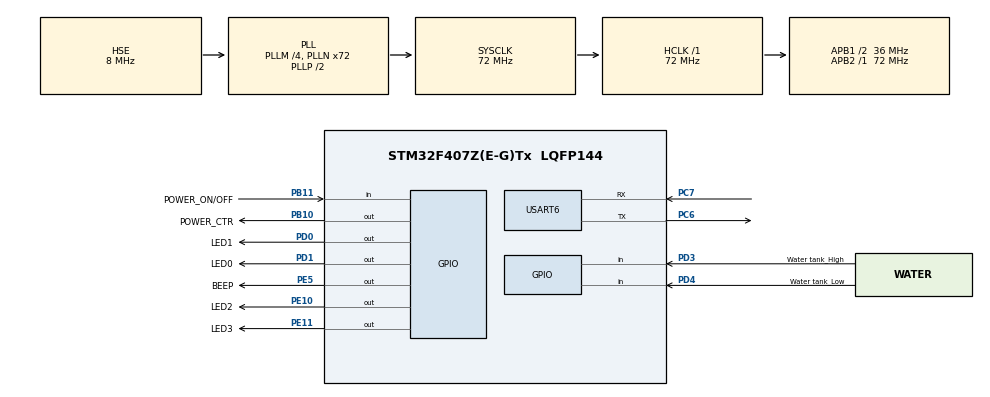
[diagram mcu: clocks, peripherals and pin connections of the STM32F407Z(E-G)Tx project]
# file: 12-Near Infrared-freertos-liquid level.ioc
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FREERTOS.Tasks01=LED_Task,-3,128,Start_LED_Task,Default,NULL,Dynamic,NULL,NULL;PWR_Task,0,128,Start_PWR_Task,Default,NULL,Dynamic,NULL,NULL;BOOT_Task,-1,128,Start_BOOT_Task,Default,NULL,Dynamic,NULL,NULL
Mcu.Family=STM32F4
Mcu.Name=STM32F407Z(E-G)Tx
Mcu.Package=LQFP144
NVIC.PriorityGroup=NVIC_PRIORITYGROUP_4
NVIC.TIM2_IRQn=true\:5\:0\:false\:false\:true\:true\:true\:true\:true
NVIC.TIM7_IRQn=true\:15\:0\:false\:false\:true\:false\:false\:true\:true
NVIC.TimeBase=TIM7_IRQn
NVIC.TimeBaseIP=TIM7
NVIC.USART6_IRQn=true\:6\:0\:true\:false\:true\:true\:true\:true\:true
PA13.Mode=Serial_Wire
PA13.Signal=SYS_JTMS-SWDIO
PA14.Mode=Serial_Wire
PA14.Signal=SYS_JTCK-SWCLK
PB10.GPIO_Label=POWER_CTR
PB10.GPIO_PuPd=GPIO_PULLDOWN
PB10.GPIO_Speed=GPIO_SPEED_FREQ_HIGH
PB10.PinState=GPIO_PIN_RESET
PB10.Signal=GPIO_Output
PB11.GPIO_Label=POWER_ON/OFF
PB11.GPIO_PuPd=GPIO_PULLUP
PB11.Signal=GPIO_Input
PC6.Mode=Asynchronous
PC6.Signal=USART6_TX
PC7.Mode=Asynchronous
PC7.Signal=USART6_RX
PD0.GPIO_Label=LED1
PD0.GPIO_PuPd=GPIO_PULLUP
PD0.GPIO_Speed=GPIO_SPEED_FREQ_HIGH
PD0.PinState=GPIO_PIN_SET
PD0.Signal=GPIO_Output
PD1.GPIO_Label=LED0
PD1.GPIO_PuPd=GPIO_PULLUP
PD1.GPIO_Speed=GPIO_SPEED_FREQ_HIGH
PD1.PinState=GPIO_PIN_SET
PD1.Signal=GPIO_Output
PD3.GPIO_Label=Water tank_High
PD3.GPIO_PuPd=GPIO_PULLUP
PD3.Signal=GPIO_Input
PD4.GPIO_Label=Water tank_Low
PD4.GPIO_PuPd=GPIO_PULLUP
PD4.Signal=GPIO_Input
PE10.GPIO_Label=LED2
PE10.GPIO_PuPd=GPIO_PULLUP
PE10.GPIO_Speed=GPIO_SPEED_FREQ_HIGH
PE10.PinState=GPIO_PIN_SET
PE10.Signal=GPIO_Output
PE11.GPIO_Label=LED3
PE11.GPIO_PuPd=GPIO_PULLUP
PE11.GPIO_Speed=GPIO_SPEED_FREQ_HIGH
PE11.PinState=GPIO_PIN_SET
PE11.Signal=GPIO_Output
PE5.GPIO_Label=BEEP
PE5.GPIO_PuPd=GPIO_PULLDOWN
PE5.GPIO_Speed=GPIO_SPEED_FREQ_HIGH
PE5.PinState=GPIO_PIN_RESET
PE5.Signal=GPIO_Output
PH0-OSC_IN.Mode=HSE-External-Oscillator
PH0-OSC_IN.Signal=RCC_OSC_IN
PH1-OSC_OUT.Mode=HSE-External-Oscillator
PH1-OSC_OUT.Signal=RCC_OSC_OUT
ProjectManager.HeapSize=0x200
ProjectManager.StackSize=0x400
ProjectManager.TargetToolchain=MDK-ARM V5.32
RCC.48MHZClocksFreq_Value=36000000
RCC.AHBFreq_Value=72000000
RCC.APB1CLKDivider=RCC_HCLK_DIV2
RCC.APB1Freq_Value=36000000
RCC.APB1TimFreq_Value=72000000
RCC.APB2Freq_Value=72000000
RCC.APB2TimFreq_Value=72000000
RCC.CortexFreq_Value=72000000
RCC.HCLKFreq_Value=72000000
RCC.HSE_VALUE=8000000
RCC.HSI_VALUE=16000000
RCC.LSE_VALUE=32768
RCC.PLLM=4
RCC.PLLN=72
RCC.PLLSourceVirtual=RCC_PLLSOURCE_HSE
RCC.SYSCLKFreq_VALUE=72000000
RCC.SYSCLKSource=RCC_SYSCLKSOURCE_PLLCLK
RCC.VCOOutputFreq_Value=144000000
TIM2.Period=1750
TIM2.Prescaler=72-1
USART6.VirtualMode=VM_ASYNC
VP_FREERTOS_VS_CMSIS_V1.Mode=CMSIS_V1
VP_SYS_VS_tim7.Mode=TIM7
VP_TIM2_VS_ClockSourceINT.Mode=Internal
board=custom

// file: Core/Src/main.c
/* USER CODE BEGIN Header */
/**
  ******************************************************************************
  * @file           : main.c
  * @brief          : Main program body
  ******************************************************************************
  * @attention
  *
  * Copyright (c) 2024 STMicroelectronics.
  * All rights reserved.
  *
  * This software is licensed under terms that can be found in the LICENSE file
  * in the root directory of this software component.
  * If no LICENSE file comes with this software, it is provided AS-IS.
  *
  ******************************************************************************
  */
/* USER CODE END Header */
#include "main.h"
#include "cmsis_os.h"
#include "tim.h"
#include "usart.h"
#include "gpio.h"

/* USER CODE BEGIN Includes */
#include "flash_write_read.h"
#include "FreeRTOS.h"
#include "flash_write_read.h"
#include <string.h>
#include <stdio.h>

/* USER CODE END Includes */

void SystemClock_Config(void);
void MX_FREERTOS_Init(void);

/* USER CODE BEGIN 0 */
uint32_t flag =1;

/* USER CODE END 0 */

int main(void)
{

  /* MCU Configuration--------------------------------------------------------*/

  /* Reset of all peripherals, Initializes the Flash interface and the Systick. */
  HAL_Init();

  /* Configure the system clock */
  SystemClock_Config();

  /* Initialize all configured peripherals */
  MX_GPIO_Init();
  MX_USART6_UART_Init();
  MX_TIM2_Init();
  /* USER CODE BEGIN 2 */
  HAL_GPIO_WritePin(POWER_CTR_GPIO_Port,POWER_CTR_Pin,GPIO_PIN_SET);
//  STMFLASH_Write(0x08007000,(uint32_t*)flag,1);
//  printf("water_flag_fill_flag存入的值是： %d",flag);
  HAL_Delay(500);
//  #define FLASH_ADDR 0x08005000 	//定义读写地址

//main函数中需要写入就加入写入代码，需要读取就加入读取代码

        //写入数据
//		uint16_t flash_write = 116;
//		uint16_t flash_write[7];
//        flash_write[0] = 1;
//		flash_write[1] = 2;
//		flash_write[2] = 3;
//		flash_write[3] = 4;
//		flash_write[4] = 5;
//		flash_write[5] = 7;
//		flash_write[6] = 10;
//		STMFLASH_Write(FLASH_ADDR,(uint32_t*)&flash_write,1);
//		printf("全部数据存入成功\r\n");

        //读取数据
//		uint16_t flash_read;
//		uint16_t flash_read[1];
//        uint16_t flash_read[7];
//		STMFLASH_Read(FLASH_ADDR,(uint32_t*)&flash_read,1);
		STMFLASH_Read(FLASH_ADDR,(uint32_t *)&water_flag_fill_flag,1);
//	    uint16_t a1= flash_read[0];
//	    uint16_t a2= flash_read[1];
//		uint16_t a3= flash_read[2];
// 		uint16_t a4= flash_read[3];
//		uint16_t a5= flash_read[4];
//		uint16_t a6= flash_read[5];
//		uint16_t a7= flash_read[6];
		printf("读取water_flag_fill_flag 的数据是： %d\r\n",water_flag_fill_flag);
//		printf("uint16_t a7的数据是： %d\r\n",a2);
//		printf("uint16_t a7的数据是： %d\r\n",a3);
//		printf("uint16_t a7的数据是： %d\r\n",a4);
//		printf("uint16_t a7的数据是： %d\r\n",a5);
//		printf("uint16_t a7的数据是： %d\r\n",a6);
//		printf("uint16_t a7的数据是： %d\r\n",a7);

  /* USER CODE END 2 */

  /* Call init function for freertos objects (in freertos.c) */
  MX_FREERTOS_Init();
  /* Start scheduler */
  osKernelStart();

  /* We should never get here as control is now taken by the scheduler */
  /* Infinite loop */
  while (1)
  {

  }
}

void SystemClock_Config(void)
{
  RCC_OscInitTypeDef RCC_OscInitStruct = {0};
  RCC_ClkInitTypeDef RCC_ClkInitStruct = {0};

  /** Configure the main internal regulator output voltage
  */
  __HAL_RCC_PWR_CLK_ENABLE();
  __HAL_PWR_VOLTAGESCALING_CONFIG(PWR_REGULATOR_VOLTAGE_SCALE1);
  /** Initializes the RCC Oscillators according to the specified parameters
  * in the RCC_OscInitTypeDef structure.
  */
  RCC_OscInitStruct.OscillatorType = RCC_OSCILLATORTYPE_HSE;
  RCC_OscInitStruct.HSEState = RCC_HSE_ON;
  RCC_OscInitStruct.PLL.PLLState = RCC_PLL_ON;
  RCC_OscInitStruct.PLL.PLLSource = RCC_PLLSOURCE_HSE;
  RCC_OscInitStruct.PLL.PLLM = 4;
  RCC_OscInitStruct.PLL.PLLN = 72;
  RCC_OscInitStruct.PLL.PLLP = RCC_PLLP_DIV2;
  RCC_OscInitStruct.PLL.PLLQ = 4;
  if (HAL_RCC_OscConfig(&RCC_OscInitStruct) != HAL_OK)
  {
    Error_Handler();
  }
  /** Initializes the CPU, AHB and APB buses clocks
  */
  RCC_ClkInitStruct.ClockType = RCC_CLOCKTYPE_HCLK|RCC_CLOCKTYPE_SYSCLK
                              |RCC_CLOCKTYPE_PCLK1|RCC_CLOCKTYPE_PCLK2;
  RCC_ClkInitStruct.SYSCLKSource = RCC_SYSCLKSOURCE_PLLCLK;
  RCC_ClkInitStruct.AHBCLKDivider = RCC_SYSCLK_DIV1;
  RCC_ClkInitStruct.APB1CLKDivider = RCC_HCLK_DIV2;
  RCC_ClkInitStruct.APB2CLKDivider = RCC_HCLK_DIV1;

  if (HAL_RCC_ClockConfig(&RCC_ClkInitStruct, FLASH_LATENCY_2) != HAL_OK)
  {
    Error_Handler();
  }
}

void HAL_TIM_PeriodElapsedCallback(TIM_HandleTypeDef *htim)
{
  if (htim->Instance == TIM7) {
    HAL_IncTick();
  }
}

void Error_Handler(void)
{
  __disable_irq();
  while (1)
  {
  }
}

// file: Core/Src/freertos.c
/* USER CODE BEGIN Header */
/**
  ******************************************************************************
  * File Name          : freertos.c
  * Description        : Code for freertos applications
  ******************************************************************************
  * @attention
  *
  * Copyright (c) 2024 STMicroelectronics.
  * All rights reserved.
  *
  * This software is licensed under terms that can be found in the LICENSE file
  * in the root directory of this software component.
  * If no LICENSE file comes with this software, it is provided AS-IS.
  *
  ******************************************************************************
  */
/* USER CODE END Header */

#include "FreeRTOS.h"
#include "task.h"
#include "main.h"
#include "cmsis_os.h"

/* USER CODE BEGIN Includes */
#include "PWR_ON_OFF.h"
#include "Water_tank_liquid.h"
#include "string.h"
#include "stdio.h"
#include "flash_write_read.h"

/* USER CODE END Includes */

osThreadId LED_TaskHandle;
osThreadId PWR_TaskHandle;
osThreadId BOOT_TaskHandle;

void Start_LED_Task(void const * argument);
void Start_PWR_Task(void const * argument);
void Start_BOOT_Task(void const * argument);

void MX_FREERTOS_Init(void); /* (MISRA C 2004 rule 8.1) */

/* GetIdleTaskMemory prototype (linked to static allocation support) */
void vApplicationGetIdleTaskMemory( StaticTask_t **ppxIdleTaskTCBBuffer, StackType_t **ppxIdleTaskStackBuffer, uint32_t *pulIdleTaskStackSize );

/* USER CODE BEGIN GET_IDLE_TASK_MEMORY */
static StaticTask_t xIdleTaskTCBBuffer;
static StackType_t xIdleStack[configMINIMAL_STACK_SIZE];

void vApplicationGetIdleTaskMemory( StaticTask_t **ppxIdleTaskTCBBuffer, StackType_t **ppxIdleTaskStackBuffer, uint32_t *pulIdleTaskStackSize )
{
  *ppxIdleTaskTCBBuffer = &xIdleTaskTCBBuffer;
  *ppxIdleTaskStackBuffer = &xIdleStack[0];
  *pulIdleTaskStackSize = configMINIMAL_STACK_SIZE;
  /* place for user code */
}
/* USER CODE END GET_IDLE_TASK_MEMORY */

void MX_FREERTOS_Init(void) {

  /* Create the thread(s) */
  /* definition and creation of LED_Task */
  osThreadDef(LED_Task, Start_LED_Task, osPriorityIdle, 0, 128);
  LED_TaskHandle = osThreadCreate(osThread(LED_Task), NULL);

  /* definition and creation of PWR_Task */
  osThreadDef(PWR_Task, Start_PWR_Task, osPriorityNormal, 0, 128);
  PWR_TaskHandle = osThreadCreate(osThread(PWR_Task), NULL);

  /* definition and creation of BOOT_Task */
  osThreadDef(BOOT_Task, Start_BOOT_Task, osPriorityBelowNormal, 0, 128);
  BOOT_TaskHandle = osThreadCreate(osThread(BOOT_Task), NULL);

}

void Start_LED_Task(void const * argument)
{
  /* USER CODE BEGIN Start_LED_Task */
  /* Infinite loop */
  for(;;)
  {
	  HAL_GPIO_TogglePin(LED2_GPIO_Port,LED2_Pin);
	  HAL_GPIO_TogglePin(LED3_GPIO_Port,LED3_Pin);
//		STMFLASH_Read(0x0807000,(uint32_t*)flag,1);
//		printf("water_flag_fill_flag读取到的值是： %d",flag);
	  osDelay(500);

  }
  /* USER CODE END Start_LED_Task */
}

void Start_PWR_Task(void const * argument)
{
  /* USER CODE BEGIN Start_PWR_Task */
  /* Infinite loop */
  for(;;)
  {
	  PWR_ON_OFF();
	  osDelay(20);
  }
  /* USER CODE END Start_PWR_Task */
}

void Start_BOOT_Task(void const * argument)
{
  /* USER CODE BEGIN Start_BOOT_Task */
  /* Infinite loop */
  uint8_t water_low_flag = 0;//液位高低的标志位
  uint8_t water_high_flag = 0;//液位高低的标志位
  uint8_t water_flag_fill = 0;//液位满的标志位，高低液位均达标了。
	water_flag_fill = water_low_flag + water_high_flag;

  for(;;)
  {

	  water_low_flag = Water_tank_liquid_low(0);
	  water_high_flag = Water_tank_liquid_high(0);
//	  if(water_low_flag == 1)//低液位的标志位
//	  {
//		  HAL_GPIO_WritePin(LED0_GPIO_Port,LED0_Pin,GPIO_PIN_RESET);
////		  water_flag = 0;
//	  }
//	  if(water_high_flag == 2)//高液位的标志位
//	  {
//		  HAL_GPIO_WritePin(LED1_GPIO_Port,LED1_Pin,GPIO_PIN_RESET);
////		  water_flag = 0;
//	  }

	  if(water_flag_fill_flag == 0)
	  {

			if(water_low_flag  == 1)//低液位有效
			{
				HAL_GPIO_WritePin(LED0_GPIO_Port,LED0_Pin,GPIO_PIN_RESET);//低液位的指示灯亮起

			}
			 if( water_high_flag  == 2)//高液位有效
			{
				HAL_GPIO_WritePin(LED1_GPIO_Port,LED1_Pin,GPIO_PIN_RESET);//低液位的指示灯亮起

			}

			 if(water_low_flag + water_high_flag  == 0)//没有达到高液位和低液位，指示灯全灭。
			{
				HAL_GPIO_WritePin(LED0_GPIO_Port,LED0_Pin,GPIO_PIN_SET);
				HAL_GPIO_WritePin(LED1_GPIO_Port,LED1_Pin,GPIO_PIN_SET);

			}

			else if(water_low_flag + water_high_flag  == 3)
			{
			  water_flag_fill_flag = 1;
			  STMFLASH_Write(FLASH_ADDR,(uint32_t *)&water_flag_fill_flag,1);//存入此刻液位的高低的标志位。
			  for(int i = 0;i<6;i++)//蜂鸣器响三声后，执行软件复位。
			  {
				  HAL_GPIO_TogglePin(BEEP_GPIO_Port,BEEP_Pin);
				  osDelay(500);
			  }
			  HAL_NVIC_SystemReset();//	  执行软件复位。

			}
	  }

	  else if(water_flag_fill_flag == 1)
	  {

		  if(water_high_flag + water_low_flag < 3)//高液位的标志位
		  {
			  water_flag_fill_flag = 0;
			  STMFLASH_Write(FLASH_ADDR,(uint32_t *)&water_flag_fill_flag,1);
			  HAL_GPIO_WritePin(LED0_GPIO_Port,LED0_Pin,GPIO_PIN_SET);
			  HAL_GPIO_WritePin(LED1_GPIO_Port,LED1_Pin,GPIO_PIN_SET);
	//		  water_flag = 0;
		  }

	  }

	  printf("此刻water_low_flag的值是： %d\r\n",water_flag_fill_flag);

//	  printf("water_low_flag的值是：%d\r\n",water_low_flag);
//	  printf("water_high_flag的值是：%d\r\n",water_high_flag);
	  osDelay(100);
  }
  /* USER CODE END Start_BOOT_Task */
}
